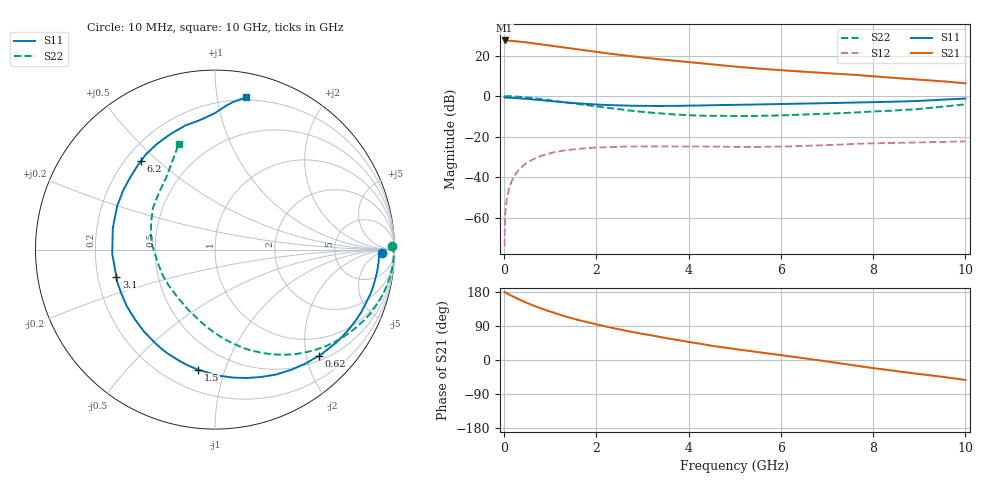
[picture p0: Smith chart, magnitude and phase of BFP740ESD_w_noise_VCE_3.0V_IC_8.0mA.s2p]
! Infineon Technologies  Discrete & RF Semiconductors
! BFP740ESD
! VCE =  3.0 V,  IC =  8.0 mA
! Common Emitter S-Parameters:  Jan 2016
# GHz  S  MA  R  50
!  f  S11  S21  S12  S22
! GHz  MAG  ANG  MAG  ANG  MAG  ANG  MAG  ANG
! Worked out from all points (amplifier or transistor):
!   233 points, 10 MHz to 10 GHz, reference 50 ohm
!   highest |S21| = 27.4 dB at 10 MHz (marker M1)
!   |S21| within 3 dB of that: start of sweep to 1.15 GHz
!   unconditionally stable (mu >= 1): 5.345 GHz to 9.155 GHz
!   at 200 MHz: K = 0.07, MSG = 33.7 dB, |S12| = -40.3 dB
!   at 1.74 GHz: K = 0.35, MSG = 24.1 dB, |S12| = -25.7 dB
!   at 10 GHz: K = 0.71, MSG = 14.3 dB, |S12| = -22.3 dB
!   lowest NFmin = 0.57 dB at 450 MHz
!   S11 on the Smith chart (normalised r, x): 10 MHz: 25, -8; 620 MHz: 0.60, -2.24; 1.5 GHz: 0.33, -0.81; 3.1 GHz: 0.28, -0.13; 6.2 GHz: 0.26, +0.44; 10 GHz: 0.18, +1.21
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0.01  0.9291 -1.3  23.48 179.5  0.0002 142.1  0.9877 1.3
0.02  0.9143 -1.6  23.14 178.5  0.001 84.7  0.9955 -1.0
0.06  0.9135 -4.8  23.11 175.8  0.0031 87.2  0.9957 -3.0
0.15  0.907 -11.8  22.99 170.1  0.0073 82.4  0.9891 -7.9
0.3  0.8865 -23.1  22.22 161.0  0.0143 75.8  0.966 -15.5
0.5  0.8508 -37.5  20.9 150.2  0.0229 67.6  0.9219 -24.9
0.62  0.8271 -45.7  20.08 144.2  0.0273 62.8  0.8908 -30.0
0.8  0.7933 -57.5  18.85 136.0  0.0335 56.4  0.8432 -37.5
1  0.7545 -70.2  17.58 127.6  0.0391 49.8  0.7882 -45.3
1.2  0.7201 -82.0  16.33 119.7  0.0437 43.9  0.7347 -52.4
1.5  0.6751 -98.1  14.6 109.2  0.0488 36.4  0.6599 -61.9
1.68  0.652 -107.1  13.68 103.4  0.0511 32.4  0.6201 -67.0
1.94  0.6257 -119.2  12.48 95.7  0.0535 27.6  0.5687 -74.1
2.4  0.5919 -138.8  10.73 83.3  0.0563 20.2  0.4881 -86.1
3.1  0.57 -164.5  8.692 67.0  0.0575 12.2  0.3986 -103.8
3.4  0.5696 -174.4  8.008 60.4  0.0576 9.7  0.3732 -111.5
4  0.582 168.0  6.886 47.6  0.0576 5.7  0.338 -128.0
5.1  0.6108 145.3  5.216 27.3  0.056 1.8  0.3237 -155.5
6.2  0.6433 129.9  4.192 9.6  0.0575 2.1  0.3401 -178.8
6.8  0.6636 121.8  3.793 -0.3  0.0607 1.8  0.3604 170.2
8.4  0.7238 97.5  2.841 -27.7  0.0698 -5.2  0.4367 137.1
10  0.8671 78.4  2.056 -52.8  0.0766 -13.3  0.6244 108.8
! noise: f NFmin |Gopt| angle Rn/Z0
0.45  0.57  0.28  4  0.13
0.9  0.6  0.28  15  0.1
1.9  0.62  0.25  24  0.09
2.4  0.67  0.19  44  0.12
5.5  0.89  0.23  -151  0.13
10  1.72  0.58  -92  0.5
